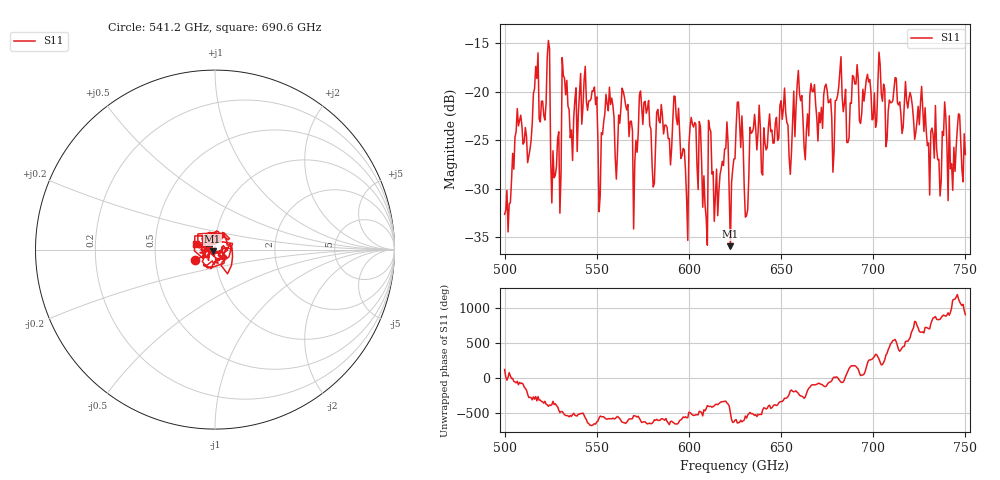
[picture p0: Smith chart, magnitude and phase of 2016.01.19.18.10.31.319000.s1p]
!Created with skrf (http://scikit-rf.org).
# GHz S RI R 50.0
!freq ReS11 ImS11
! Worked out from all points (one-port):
!   401 points, 500 GHz to 750 GHz, reference 50 ohm
!   lowest |S11| = -35.9 dB at 622.5 GHz (marker M1), VSWR 1.03, Z = 48.7 - j0.845 ohm
!   |S11| at or under -10 dB: start of sweep to end of sweep
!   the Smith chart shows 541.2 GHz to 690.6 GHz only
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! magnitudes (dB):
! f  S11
! 500 GHz  -32.7
! 507.5 GHz  -23.5
! 513.8 GHz  -26.0
! 516.9 GHz  -17.4
! 523.1 GHz  -16.4
! 526.2 GHz  -26.1
! 531.2 GHz  -16.5
! 548.8 GHz  -19.5
! 551.9 GHz  -30.7
! 555.6 GHz  -21.3
! 562.5 GHz  -23.2
! 571.2 GHz  -25.0
! 574.4 GHz  -21.5
! 580.6 GHz  -29.8
! 593.8 GHz  -23.4
! 598.1 GHz  -28.0
! 602.5 GHz  -23.6
! 608.8 GHz  -31.7
! 611.9 GHz  -24.1
! 622.5 GHz  -35.9
! 625 GHz  -26.9
! 627.5 GHz  -23.3
! 631.2 GHz  -32.8
! 634.4 GHz  -24.2
! 656.2 GHz  -23.0
! 687.5 GHz  -21.2
! 718.8 GHz  -21.7
! 750 GHz  -26.5
